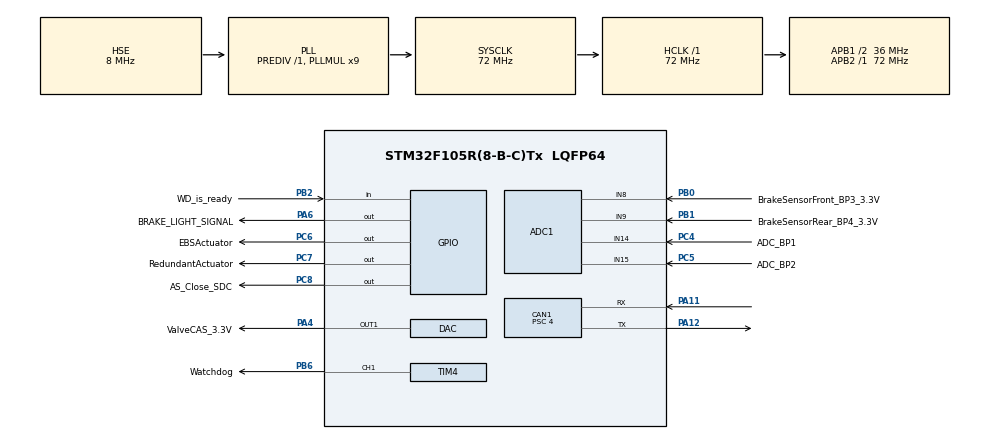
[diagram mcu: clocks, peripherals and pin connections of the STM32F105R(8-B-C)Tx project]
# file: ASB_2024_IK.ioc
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ADC1.Channel-4\#ChannelInjectedConversion=ADC_CHANNEL_8
ADC1.Channel-5\#ChannelInjectedConversion=ADC_CHANNEL_9
ADC1.Channel-6\#ChannelInjectedConversion=ADC_CHANNEL_14
ADC1.Channel-7\#ChannelInjectedConversion=ADC_CHANNEL_15
ADC1.ContinuousConvMode=DISABLE
ADC1.EnableInjectedConversion=ENABLE
ADC1.EnableRegularConversion=DISABLE
ADC1.InjNumberOfConversion=4
ADC1.InjectedOffset-4\#ChannelInjectedConversion=0
ADC1.InjectedOffset-5\#ChannelInjectedConversion=0
ADC1.InjectedOffset-6\#ChannelInjectedConversion=0
ADC1.InjectedOffset-7\#ChannelInjectedConversion=0
ADC1.InjectedRank-4\#ChannelInjectedConversion=1
ADC1.InjectedRank-5\#ChannelInjectedConversion=2
ADC1.InjectedRank-6\#ChannelInjectedConversion=3
ADC1.InjectedRank-7\#ChannelInjectedConversion=4
ADC1.SamplingTime-4\#ChannelInjectedConversion=ADC_SAMPLETIME_55CYCLES_5
ADC1.SamplingTime-5\#ChannelInjectedConversion=ADC_SAMPLETIME_55CYCLES_5
ADC1.SamplingTime-6\#ChannelInjectedConversion=ADC_SAMPLETIME_55CYCLES_5
ADC1.SamplingTime-7\#ChannelInjectedConversion=ADC_SAMPLETIME_55CYCLES_5
ADC1.master=1
CAN1.ABOM=ENABLE
CAN1.AWUM=ENABLE
CAN1.BS1=CAN_BS1_15TQ
CAN1.BS2=CAN_BS2_2TQ
CAN1.CalculateBaudRate=500000
CAN1.CalculateTimeBit=2000
CAN1.CalculateTimeQuantum=111.11111111111111
CAN1.NART=ENABLE
CAN1.Prescaler=4
FREERTOS.Tasks01=readSensors,1,128,StartReadSensorsTsk,Default,NULL,Dynamic,NULL,NULL;supervisor,2,128,supervisorTask,Default,NULL,Dynamic,NULL,NULL;ManageSysTask,0,256,ManageTask,Default,NULL,Dynamic,NULL,NULL
Mcu.Family=STM32F1
Mcu.Name=STM32F105R(8-B-C)Tx
Mcu.Package=LQFP64
NVIC.ADC1_2_IRQn=true\:5\:0\:false\:false\:true\:true\:true\:true\:true
NVIC.CAN1_RX0_IRQn=true\:5\:0\:false\:false\:true\:true\:true\:true\:true
NVIC.CAN1_TX_IRQn=true\:5\:0\:false\:false\:true\:true\:true\:true\:true
NVIC.PriorityGroup=NVIC_PRIORITYGROUP_4
NVIC.TIM7_IRQn=true\:15\:0\:false\:false\:true\:false\:false\:true\:true
NVIC.TimeBase=TIM7_IRQn
NVIC.TimeBaseIP=TIM7
PA11.Mode=CAN_Activate
PA11.Signal=CAN1_RX
PA12.Mode=CAN_Activate
PA12.Signal=CAN1_TX
PA13.Mode=Serial_Wire
PA13.Signal=SYS_JTMS-SWDIO
PA14.Mode=Serial_Wire
PA14.Signal=SYS_JTCK-SWCLK
PA4.GPIO_Label=ValveCAS_3.3V
PA4.Signal=COMP_DAC1_group
PA6.GPIO_Label=BRAKE_LIGHT_SIGNAL
PA6.GPIO_Speed=GPIO_SPEED_FREQ_HIGH
PA6.Signal=GPIO_Output
PB0.GPIO_Label=BrakeSensorFront_BP3_3.3V
PB0.Signal=ADCx_IN8
PB1.GPIO_Label=BrakeSensorRear_BP4_3.3V
PB1.Signal=ADCx_IN9
PB2.GPIO_Label=WD_is_ready
PB2.GPIO_PuPd=GPIO_PULLDOWN
PB2.Signal=GPIO_Input
PB6.GPIO_Label=Watchdog
PB6.Signal=S_TIM4_CH1
PC4.GPIO_Label=ADC_BP1
PC4.Signal=ADCx_IN14
PC5.GPIO_Label=ADC_BP2
PC5.Signal=ADCx_IN15
PC6.GPIO_Label=EBSActuator
PC6.GPIO_PuPd=GPIO_PULLDOWN
PC6.GPIO_Speed=GPIO_SPEED_FREQ_HIGH
PC6.Signal=GPIO_Output
PC7.GPIO_Label=RedundantActuator
PC7.GPIO_PuPd=GPIO_PULLDOWN
PC7.GPIO_Speed=GPIO_SPEED_FREQ_HIGH
PC7.Signal=GPIO_Output
PC8.GPIO_Label=AS_Close_SDC
PC8.GPIO_PuPd=GPIO_PULLDOWN
PC8.GPIO_Speed=GPIO_SPEED_FREQ_HIGH
PC8.Signal=GPIO_Output
PD0-OSC_IN.Mode=HSE-External-Oscillator
PD0-OSC_IN.Signal=RCC_OSC_IN
PD1-OSC_OUT.Mode=HSE-External-Oscillator
PD1-OSC_OUT.Signal=RCC_OSC_OUT
ProjectManager.HeapSize=0x200
ProjectManager.StackSize=0x400
ProjectManager.TargetToolchain=MDK-ARM V5
RCC.ADCPresc=RCC_ADCPCLK2_DIV6
RCC.AHBFreq_Value=72000000
RCC.APB1CLKDivider=RCC_HCLK_DIV2
RCC.APB1Freq_Value=36000000
RCC.APB1TimFreq_Value=72000000
RCC.APB2Freq_Value=72000000
RCC.APB2TimFreq_Value=72000000
RCC.HCLKFreq_Value=72000000
RCC.PLLMUL=RCC_PLL_MUL9
RCC.PLLSourceVirtual=RCC_PLLSOURCE_HSE
RCC.SYSCLKFreq_VALUE=72000000
RCC.SYSCLKSource=RCC_SYSCLKSOURCE_PLLCLK
RCC.USBFreq_Value=48000000
SH.ADCx_IN14.0=ADC1_IN14,IN14
SH.ADCx_IN15.0=ADC1_IN15,IN15
SH.ADCx_IN8.0=ADC1_IN8,IN8
SH.ADCx_IN9.0=ADC1_IN9,IN9
SH.COMP_DAC1_group.0=DAC_OUT1,DAC_OUT1
SH.S_TIM4_CH1.0=TIM4_CH1,PWM Generation1 CH1
TIM4.Channel-PWM\ Generation1\ CH1=TIM_CHANNEL_1
TIM4.Period=1999
TIM4.Prescaler=71
TIM4.Pulse-PWM\ Generation1\ CH1=999
VP_FREERTOS_VS_CMSIS_V1.Mode=CMSIS_V1
VP_SYS_VS_tim7.Mode=TIM7
board=custom

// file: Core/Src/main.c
/* USER CODE BEGIN Header */
/**
  ******************************************************************************
  * @file           : main.c
  * @brief          : Main program body
  ******************************************************************************
  * @attention
  *
  * Copyright (c) 2024 STMicroelectronics.
  * All rights reserved.
  *
  * This software is licensed under terms that can be found in the LICENSE file
  * in the root directory of this software component.
  * If no LICENSE file comes with this software, it is provided AS-IS.
  *
  ******************************************************************************
  */
/* USER CODE END Header */
#include "main.h"
#include "cmsis_os.h"

/* USER CODE BEGIN Includes */
#include <ISO646.h>
#include <stdlib.h>
#include <math.h>
#include <stdbool.h>
/* USER CODE END Includes */

/* USER CODE BEGIN PTD */
typedef enum {
	ASB_Reset,
	Manual_Driving_Mode,
	Init_Check_Request,
	Go_Signal,                          //	unused, yet
	Emergency_External,
	Unexpected_Signal,									//	unused, yet
	EmergencyHandler_Error,              // error that occurs when the Watchdog wasn't stopped
} ASBSignal;
ASBSignal currentASBSignal;

/* USER CODE END PTD */

/* USER CODE BEGIN PD */
#define SDC_CLOSE() HAL_GPIO_WritePin(AS_Close_SDC_GPIO_Port,AS_Close_SDC_Pin,GPIO_PIN_SET);
#define SDC_OPEN() HAL_GPIO_WritePin(AS_Close_SDC_GPIO_Port,AS_Close_SDC_Pin,GPIO_PIN_RESET);
#define BRAKE_LIGHT_ON() HAL_GPIO_WritePin(BRAKE_LIGHT_SIGNAL_GPIO_Port,BRAKE_LIGHT_SIGNAL_Pin,GPIO_PIN_SET);
#define BRAKE_LIGHT_OFF() HAL_GPIO_WritePin(BRAKE_LIGHT_SIGNAL_GPIO_Port,BRAKE_LIGHT_SIGNAL_Pin,GPIO_PIN_RESET);

#define EBS_QM1_ON HAL_GPIO_WritePin(EBSActuator_GPIO_Port, EBSActuator_Pin, GPIO_PIN_SET);
#define Redundant_QM2_ON HAL_GPIO_WritePin(RedundantActuator_GPIO_Port, RedundantActuator_Pin, GPIO_PIN_SET);
#define EBS_QM1_OFF HAL_GPIO_WritePin(EBSActuator_GPIO_Port, EBSActuator_Pin, GPIO_PIN_RESET);
#define Redundant_QM2_OFF HAL_GPIO_WritePin(RedundantActuator_GPIO_Port, RedundantActuator_Pin, GPIO_PIN_RESET);

#define WD_READY_FALL_TIME 100  	// Time during which WD_is_ready is expected to fall, ms
#define WD_READY_RISE_TIME 100	 	// Time during which WD_is_ready is expected to rise, ms

#define STORAGE_PNEUMO_MIN_PRESSURE_BP1		6.5 	// bar
#define STORAGE_PNEUMO_MIN_PRESSURE_BP2 	5.5 	// bar
#define STORAGE_PNEUMO_MAX_PRESSURE_BP1 	8.5 	// bar
#define STORAGE_PNEUMO_MAX_PRESSURE_BP2 	6.5 	// bar
#define HYDRO_MIN_PRESSURE								10   	// bar
/*
The pressure sensor cannot output 0 during operation.
If the sensor outputs a value of 0, then it is defective.
Therefore we must enter some minimum value PRESSURE_MIN. This value is found empirically.
If the value coming from the sensor is less than PRESSURE_MIN, then we assume that the sensor outputs zero.
We also enter the PRESSURE_ZERO value.
If the value coming from the sensor is less than PRESSURE_ZERO, the sensor does not work.
*/
#define PNEUMO_MIN_PRESSURE 		1 	// bar
//#define PNEUMO_ZERO_PRESSURE		3
#define PRESSURE_MAX_DIFFERENCE 410 // Need found

#define TIME_FOR_SENSORS_CHECK 	100

#define DAC_PRESSURE_MIN 0x0
#define DAC_PRESSURE_MAX 0xFFF         //4095
#define CAN_PRESSURE_MIN 0x0
#define CAN_PRESSURE_MAX 0xFFFF				 //65535
#define PNEUMO_BAR_PRESSURE_MIN 	0
#define PNEUMO_BAR_PRESSURE_MAX 	6
#define HYDRO_BAR_PRESSURE_MIN 		0
#define HYDRO_BAR_PRESSURE_MAX 		100

#define PI 3.141592

#define T 0.001; //sampling time (discretization)

#define k 4018.9f //коэффициент для пересчета давления в гидравлике(бар) в тормозной момент(Н*м)

#define DEBUG 0

#if (DEBUG == 0)
#define MEDIAN_ORDER 10
#endif

/*~~~~~~~~~~~~~~~~ADC~~~~~~~~~~~~~~~~*/
volatile uint16_t adc[4] = {0,}; // у нас четыре канала поэтому массив из 4 элементов
bool ADC_flag = 0; //флаг окончания преобразования ADC
/*~~~~~~~~~~~~~~~~ADC~~~~~~~~~~~~~~~~*/

/*~~~~~~~~~~~~~~~~~~~~~~~~~~~~~~~~~~~~~~~~~~~~~~~~~~~~~~HydroPressure~~~~~~~~~~~~~~~~~~~~~~~~~~~~~~~~~~~~~~~~~~~~~~~~~~~~~~*/
/*BrakeSensorFront*/
float VAL_BrakeSensFront, VAL_BrakeSensFront_prev, VAL_BrakeSensFront_f = 0;
int16_t ADC_BrakeSensFront = 0;

/*BrakeSensorRear*/
float VAL_BrakeSensRear, VAL_BrakeSensRear_prev, VAL_BrakeSensRear_f = 0;
int16_t ADC_BrakeSensRear = 0;

/*BrakeSensorsVariables*/
float VAL_HydroPressure = 0; //VAL_HydroPressure = VAL_BrakeSensRear_f + VAL_BrakeSensFront_f;
/*~~~~~~~~~~~~~~~~~~~~~~~~~~~~~~~~~~~~~~~~~~~~~~~~~~~~~~HydroPressure~~~~~~~~~~~~~~~~~~~~~~~~~~~~~~~~~~~~~~~~~~~~~~~~~~~~~~*/

/*~~~~~~~~~~~~~~~~~~~~~~~~~~~~~~~~~~~~~~~~~~~~~~~~~~~~~~PneumoPressure~~~~~~~~~~~~~~~~~~~~~~~~~~~~~~~~~~~~~~~~~~~~~~~~~~~~~~*/
/*Pressure BP1*/
float VAL_Pressure_BP1, VAL_Pressure_BP1_prev, VAL_Pressure_BP1_f = 0;
int16_t ADC_Pressure_BP1 = 0;
/*Pressure BP1*/

/*Pressure BP2*/
float VAL_Pressure_BP2, VAL_Pressure_BP2_prev, VAL_Pressure_BP2_f = 0;
int16_t ADC_Pressure_BP2 = 0;
/*Pressure BP2*/
/*~~~~~~~~~~~~~~~~~~~~~~~~~~~~~~~~~~~~~~~~~~~~~~~~~~~~~~PneumoPressure~~~~~~~~~~~~~~~~~~~~~~~~~~~~~~~~~~~~~~~~~~~~~~~~~~~~~~*/

/*~~~~~~~~~~~~~~~~~~~~~~~~~~~~~~~~~~~~~~~~~~~~~~~~~~~~~~Brake Moment~~~~~~~~~~~~~~~~~~~~~~~~~~~~~~~~~~~~~~~~~~~~~~~~~~~~~~*/
float VAL_MomentBrake  = 0;
/*~~~~~~~~~~~~~~~~~~~~~~~~~~~~~~~~~~~~~~~~~~~~~~~~~~~~~~Brake Moment~~~~~~~~~~~~~~~~~~~~~~~~~~~~~~~~~~~~~~~~~~~~~~~~~~~~~~*/

/*~~~~~~~~~~~~~~~~PID value~~~~~~~~~~~~~~~~*/
float outPIDpne = 0;
float outPIDhyd = 0;
float outPIDmoment = 0;
float setPneumoValue = 0;
float setHydroValue = 0;
float setMomentValue = 0;
/*~~~~~~~~~~~~~~~~PID value~~~~~~~~~~~~~~~~*/

/* USER CODE END PD */

ADC_HandleTypeDef hadc1;

CAN_HandleTypeDef hcan1;

DAC_HandleTypeDef hdac;

TIM_HandleTypeDef htim4;

osThreadId readSensorsHandle;
osThreadId supervisorHandle;
osThreadId ManageSysTaskHandle;
/* USER CODE BEGIN PV */
CAN_TxHeaderTypeDef pTxHeader;
CAN_RxHeaderTypeDef pRxHeader;
uint32_t TxMailbox;
uint8_t i = 0;
uint8_t receive = 0;
uint8_t TX_data[8], RX_data[8];
CAN_FilterTypeDef sFilterConfig;
/* USER CODE END PV */

void SystemClock_Config(void);
static void MX_GPIO_Init(void);
static void MX_ADC1_Init(void);
static void MX_TIM4_Init(void);
static void MX_DAC_Init(void);
static void MX_CAN1_Init(void);
void StartReadSensorsTsk(void const * argument);
void supervisorTask(void const * argument);
void ManageTask(void const * argument);

/* USER CODE BEGIN 0 */
float convert(float value, float From1, float From2, float To1, float To2) {
  return ((value - From1) / (From2 - From1) * (To2 - To1) + To1);
}

float exponential_filter(float alpha, float currentValue, float previousValue){ //функция экспоненциального фильтра
	return alpha * currentValue + (1.0f - alpha) * previousValue;
}

void HAL_ADCEx_InjectedConvCpltCallback(ADC_HandleTypeDef* hadc)
{
    if(hadc->Instance == ADC1) //check if the interrupt comes from ACD1
    {
      adc[0] = HAL_ADCEx_InjectedGetValue(&hadc1, ADC_INJECTED_RANK_1); //BP 3
      adc[1] = HAL_ADCEx_InjectedGetValue(&hadc1, ADC_INJECTED_RANK_2); //BP 4
			adc[2] = HAL_ADCEx_InjectedGetValue(&hadc1, ADC_INJECTED_RANK_3); //BP 1
      adc[3] = HAL_ADCEx_InjectedGetValue(&hadc1, ADC_INJECTED_RANK_4); //BP 2
			ADC_flag = 1;
      HAL_ADCEx_InjectedStart_IT(&hadc1);
    }
}

//void HAL_ADC_ConvCpltCallback(ADC_HandleTypeDef* hadc){ //прерывание по окончанию преобразования АЦП
//    if(hadc->Instance == ADC1)
//    {
//      ADC_flag = 1;
//    }
//}

void SensorsRead(){ //считывание и фильтрация сигнала с датчиков давления
	if(ADC_flag)
  {
    ADC_flag = 0;
		ADC_BrakeSensFront = adc[0];
		ADC_BrakeSensRear = adc[1];
		ADC_Pressure_BP1 = adc[2];
		ADC_Pressure_BP2 = adc[3];
		adc[0] = 0;
    adc[1] = 0;
		adc[2] = 0;
		adc[3] = 0;

		/*-----------ADC -> Bar for Brake Sensors-----------*/
		VAL_BrakeSensFront = (ADC_BrakeSensFront * 100.0f)/4095.0f;
		VAL_BrakeSensRear = (ADC_BrakeSensRear * 100.0f)/4095.0f;

		/*-----------ADC -> Bar for BP1 and BP2-----------*/
//		VAL_Pressure_BP1 = (ADC_Pressure_BP1 * 10.0f)/4095.0f;
//		VAL_Pressure_BP2 = (ADC_Pressure_BP2 * 10.0f)/4095.0f;
		VAL_Pressure_BP1 = convert(ADC_Pressure_BP1, 0, 0xFFF, 0, 10);
		VAL_Pressure_BP2 = convert(ADC_Pressure_BP2, 0, 0xFFF, 0, 10);

		/*-----------Exponential filter for brake sensors-----------*/
		VAL_BrakeSensFront_f = exponential_filter(0.2f, VAL_BrakeSensFront, VAL_BrakeSensFront_prev);
		VAL_BrakeSensRear_f = exponential_filter(0.2f, VAL_BrakeSensRear, VAL_BrakeSensRear_prev);
		VAL_BrakeSensFront_prev = ADC_BrakeSensFront;
		VAL_BrakeSensRear_prev = ADC_BrakeSensRear;

		/*-----------Exponential filter for BP1 and BP2-----------*/
		VAL_Pressure_BP1_f = exponential_filter(0.2f, VAL_Pressure_BP1, VAL_Pressure_BP1_prev);
		VAL_Pressure_BP2_f = exponential_filter(0.2f, VAL_Pressure_BP2, VAL_Pressure_BP2_prev);
		VAL_Pressure_BP1_prev = VAL_Pressure_BP1;
    VAL_Pressure_BP2_prev = VAL_Pressure_BP2;
  }
}

void BRAKE_LIGHT_FUNCTION(){ //функция свечения стопаря в зависимости от давления в гидравлике
	if(VAL_BrakeSensRear_f >= 0.4f) {BRAKE_LIGHT_ON();}
	else if(VAL_BrakeSensRear_f <= 0.1f) {BRAKE_LIGHT_OFF();}
}

float PID_Controller(float setVal, float val, float up_lim, float low_lim, float Kp, float Ki, float Kd) { //PID-регулятор
	float error_PID, error_PID_prev = 0;
	float Prop, Int, Dif = 0;
	float Int_prev = 0;
	float out_PID = 0;
	/*--------вычисление ошибки регулирования--------*/
	error_PID = setVal - val;

	/*--------Пропорциональная составляющая--------*/
	Prop = Kp * error_PID;

	/*--------интегральная составляющая--------*/
	Int = Int_prev + Ki * error_PID * T;

	/*--------Дифференциальная составляющая--------*/
	Dif = Kd * (error_PID - error_PID_prev) / T;

	/*--------Обновление предыдущих значений--------*/
	error_PID_prev = error_PID;
	Int_prev = Int;

	/*--------Выход PID регулятора--------*/
	out_PID = Prop + Int + Dif;
	out_PID = fminf(fmaxf(out_PID, low_lim), up_lim); //ограничиваем выход PID-регулятора
  return out_PID;
}

void DAC_voltageControl(float PID_output){
	uint16_t setVoltage = 0;
	setVoltage = (PID_output * 4095.0f)/8.0f;
	HAL_DAC_SetValue(&hdac, DAC_CHANNEL_1, DAC_ALIGN_12B_R, setVoltage);
}

void MANUALDrivingModeHandler(void) {
	HAL_TIM_PWM_Start(&htim4, Watchdog_Pin);
	if(HAL_GPIO_ReadPin(WD_is_ready_GPIO_Port, WD_is_ready_Pin) == 1){
		SDC_CLOSE();                             //Enable TS activation through AS_close_SDC
	  BRAKE_LIGHT_FUNCTION();
	}
}
/* USER CODE END 0 */

int main(void)
{

  /* MCU Configuration--------------------------------------------------------*/

  /* Reset of all peripherals, Initializes the Flash interface and the Systick. */
  HAL_Init();

  /* Configure the system clock */
  SystemClock_Config();

  /* Initialize all configured peripherals */
  MX_GPIO_Init();
  MX_ADC1_Init();
  MX_TIM4_Init();
  MX_DAC_Init();
  MX_CAN1_Init();
  /* USER CODE BEGIN 2 */
	SDC_CLOSE();
  HAL_TIM_PWM_Start(&htim4, Watchdog_Pin); //тактирование Watchdog
  HAL_ADCEx_Calibration_Start(&hadc1);     //калибруем АЦП
	HAL_ADCEx_InjectedStart_IT(&hadc1);      //Запуск инжектированных каналов АЦП с прерыанием
	//HAL_ADC_Start_DMA(&hadc1, (uint32_t*)&adc, 4); // стартуем АЦП
  /* USER CODE END 2 */

  /* Create the thread(s) */
  /* definition and creation of readSensors */
  osThreadDef(readSensors, StartReadSensorsTsk, osPriorityAboveNormal, 0, 128);
  readSensorsHandle = osThreadCreate(osThread(readSensors), NULL);

  /* definition and creation of supervisor */
  osThreadDef(supervisor, supervisorTask, osPriorityHigh, 0, 128);
  supervisorHandle = osThreadCreate(osThread(supervisor), NULL);

  /* definition and creation of ManageSysTask */
  osThreadDef(ManageSysTask, ManageTask, osPriorityNormal, 0, 256);
  ManageSysTaskHandle = osThreadCreate(osThread(ManageSysTask), NULL);

  /* Start scheduler */
  osKernelStart();

  /* We should never get here as control is now taken by the scheduler */

  /* Infinite loop */
  while (1)
  {

  }
}

void SystemClock_Config(void)
{
  RCC_OscInitTypeDef RCC_OscInitStruct = {0};
  RCC_ClkInitTypeDef RCC_ClkInitStruct = {0};
  RCC_PeriphCLKInitTypeDef PeriphClkInit = {0};

  /** Initializes the RCC Oscillators according to the specified parameters
  * in the RCC_OscInitTypeDef structure.
  */
  RCC_OscInitStruct.OscillatorType = RCC_OSCILLATORTYPE_HSE;
  RCC_OscInitStruct.HSEState = RCC_HSE_ON;
  RCC_OscInitStruct.HSEPredivValue = RCC_HSE_PREDIV_DIV1;
  RCC_OscInitStruct.HSIState = RCC_HSI_ON;
  RCC_OscInitStruct.Prediv1Source = RCC_PREDIV1_SOURCE_HSE;
  RCC_OscInitStruct.PLL.PLLState = RCC_PLL_ON;
  RCC_OscInitStruct.PLL.PLLSource = RCC_PLLSOURCE_HSE;
  RCC_OscInitStruct.PLL.PLLMUL = RCC_PLL_MUL9;
  RCC_OscInitStruct.PLL2.PLL2State = RCC_PLL_NONE;
  if (HAL_RCC_OscConfig(&RCC_OscInitStruct) != HAL_OK)
  {
    Error_Handler();
  }

  /** Initializes the CPU, AHB and APB buses clocks
  */
  RCC_ClkInitStruct.ClockType = RCC_CLOCKTYPE_HCLK|RCC_CLOCKTYPE_SYSCLK
                              |RCC_CLOCKTYPE_PCLK1|RCC_CLOCKTYPE_PCLK2;
  RCC_ClkInitStruct.SYSCLKSource = RCC_SYSCLKSOURCE_PLLCLK;
  RCC_ClkInitStruct.AHBCLKDivider = RCC_SYSCLK_DIV1;
  RCC_ClkInitStruct.APB1CLKDivider = RCC_HCLK_DIV2;
  RCC_ClkInitStruct.APB2CLKDivider = RCC_HCLK_DIV1;

  if (HAL_RCC_ClockConfig(&RCC_ClkInitStruct, FLASH_LATENCY_2) != HAL_OK)
  {
    Error_Handler();
  }
  PeriphClkInit.PeriphClockSelection = RCC_PERIPHCLK_ADC;
  PeriphClkInit.AdcClockSelection = RCC_ADCPCLK2_DIV6;
  if (HAL_RCCEx_PeriphCLKConfig(&PeriphClkInit) != HAL_OK)
  {
    Error_Handler();
  }

  /** Configure the Systick interrupt time
  */
  __HAL_RCC_PLLI2S_ENABLE();
}

static void MX_ADC1_Init(void)
{

  ADC_InjectionConfTypeDef sConfigInjected = {0};

  /** Common config
  */
  hadc1.Instance = ADC1;
  hadc1.Init.ScanConvMode = ADC_SCAN_ENABLE;
  hadc1.Init.ContinuousConvMode = DISABLE;
  hadc1.Init.DiscontinuousConvMode = DISABLE;
  hadc1.Init.ExternalTrigConv = ADC_SOFTWARE_START;
  hadc1.Init.DataAlign = ADC_DATAALIGN_RIGHT;
  hadc1.Init.NbrOfConversion = 1;
  if (HAL_ADC_Init(&hadc1) != HAL_OK)
  {
    Error_Handler();
  }

  /** Configure Injected Channel
  */
  sConfigInjected.InjectedChannel = ADC_CHANNEL_8;
  sConfigInjected.InjectedRank = ADC_INJECTED_RANK_1;
  sConfigInjected.InjectedNbrOfConversion = 4;
  sConfigInjected.InjectedSamplingTime = ADC_SAMPLETIME_55CYCLES_5;
  sConfigInjected.ExternalTrigInjecConv = ADC_INJECTED_SOFTWARE_START;
  sConfigInjected.AutoInjectedConv = DISABLE;
  sConfigInjected.InjectedDiscontinuousConvMode = DISABLE;
  sConfigInjected.InjectedOffset = 0;
  if (HAL_ADCEx_InjectedConfigChannel(&hadc1, &sConfigInjected) != HAL_OK)
  {
    Error_Handler();
  }

  /** Configure Injected Channel
  */
  sConfigInjected.InjectedChannel = ADC_CHANNEL_9;
  sConfigInjected.InjectedRank = ADC_INJECTED_RANK_2;
  if (HAL_ADCEx_InjectedConfigChannel(&hadc1, &sConfigInjected) != HAL_OK)
  {
    Error_Handler();
  }

  /** Configure Injected Channel
  */
  sConfigInjected.InjectedChannel = ADC_CHANNEL_14;
  sConfigInjected.InjectedRank = ADC_INJECTED_RANK_3;
  if (HAL_ADCEx_InjectedConfigChannel(&hadc1, &sConfigInjected) != HAL_OK)
  {
    Error_Handler();
  }

  /** Configure Injected Channel
  */
  sConfigInjected.InjectedChannel = ADC_CHANNEL_15;
  sConfigInjected.InjectedRank = ADC_INJECTED_RANK_4;
  if (HAL_ADCEx_InjectedConfigChannel(&hadc1, &sConfigInjected) != HAL_OK)
  {
    Error_Handler();
  }

}

static void MX_CAN1_Init(void)
{

  hcan1.Instance = CAN1;
  hcan1.Init.Prescaler = 4;
  hcan1.Init.Mode = CAN_MODE_NORMAL;
  hcan1.Init.SyncJumpWidth = CAN_SJW_1TQ;
  hcan1.Init.TimeSeg1 = CAN_BS1_15TQ;
  hcan1.Init.TimeSeg2 = CAN_BS2_2TQ;
  hcan1.Init.TimeTriggeredMode = DISABLE;
  hcan1.Init.AutoBusOff = ENABLE;
  hcan1.Init.AutoWakeUp = ENABLE;
  hcan1.Init.AutoRetransmission = ENABLE;
  hcan1.Init.ReceiveFifoLocked = DISABLE;
  hcan1.Init.TransmitFifoPriority = DISABLE;
  if (HAL_CAN_Init(&hcan1) != HAL_OK)
  {
    Error_Handler();
  }
  /* USER CODE BEGIN CAN1_Init 2 */
pTxHeader.DLC = 8;                          //Колличество передаваемых бит
pTxHeader.IDE = CAN_ID_STD;
pTxHeader.RTR = CAN_RTR_DATA;
pTxHeader.StdId = 0x300;
pTxHeader.TransmitGlobalTime = DISABLE;

sFilterConfig.FilterBank = 0;
sFilterConfig.FilterMode = CAN_FILTERMODE_IDLIST;   //Режим работы: IDMASK/IDLIST
sFilterConfig.FilterFIFOAssignment = CAN_RX_FIFO0;
sFilterConfig.SlaveStartFilterBank = 0;
sFilterConfig.FilterIdHigh = 0x333<<5;
sFilterConfig.FilterIdLow = 0x333<<5;
sFilterConfig.FilterMaskIdHigh = 0x333<<5;
sFilterConfig.FilterMaskIdLow = 0x333<<5;
sFilterConfig.FilterScale = CAN_FILTERSCALE_16BIT;
sFilterConfig.FilterActivation = ENABLE;

  if (HAL_CAN_ConfigFilter(&hcan1, &sFilterConfig)!= HAL_OK)
    {
      // Filter configuration Error
      Error_Handler();
    }

  if(HAL_CAN_Start(&hcan1)!= HAL_OK)
    {
      //Start Error
      Error_Handler();
    }
  /* Activate CAN RX notification */
  if (HAL_CAN_ActivateNotification(&hcan1, CAN_IT_RX_FIFO0_MSG_PENDING | CAN_IT_TX_MAILBOX_EMPTY) != HAL_OK)
   {
     /* Notification Error */
     Error_Handler();
   }
  /* USER CODE END CAN1_Init 2 */

}

static void MX_DAC_Init(void)
{

  DAC_ChannelConfTypeDef sConfig = {0};

  /** DAC Initialization
  */
  hdac.Instance = DAC;
  if (HAL_DAC_Init(&hdac) != HAL_OK)
  {
    Error_Handler();
  }

  /** DAC channel OUT1 config
  */
  sConfig.DAC_Trigger = DAC_TRIGGER_NONE;
  sConfig.DAC_OutputBuffer = DAC_OUTPUTBUFFER_ENABLE;
  if (HAL_DAC_ConfigChannel(&hdac, &sConfig, DAC_CHANNEL_1) != HAL_OK)
  {
    Error_Handler();
  }

}

static void MX_TIM4_Init(void)
{

  TIM_MasterConfigTypeDef sMasterConfig = {0};
  TIM_OC_InitTypeDef sConfigOC = {0};

  htim4.Instance = TIM4;
  htim4.Init.Prescaler = 71;
  htim4.Init.CounterMode = TIM_COUNTERMODE_UP;
  htim4.Init.Period = 1999;
  htim4.Init.ClockDivision = TIM_CLOCKDIVISION_DIV1;
  htim4.Init.AutoReloadPreload = TIM_AUTORELOAD_PRELOAD_DISABLE;
  if (HAL_TIM_PWM_Init(&htim4) != HAL_OK)
  {
    Error_Handler();
  }
  sMasterConfig.MasterOutputTrigger = TIM_TRGO_RESET;
  sMasterConfig.MasterSlaveMode = TIM_MASTERSLAVEMODE_DISABLE;
  if (HAL_TIMEx_MasterConfigSynchronization(&htim4, &sMasterConfig) != HAL_OK)
  {
    Error_Handler();
  }
  sConfigOC.OCMode = TIM_OCMODE_PWM1;
  sConfigOC.Pulse = 999;
  sConfigOC.OCPolarity = TIM_OCPOLARITY_HIGH;
  sConfigOC.OCFastMode = TIM_OCFAST_DISABLE;
  if (HAL_TIM_PWM_ConfigChannel(&htim4, &sConfigOC, TIM_CHANNEL_1) != HAL_OK)
  {
    Error_Handler();
  }
  HAL_TIM_MspPostInit(&htim4);

}

static void MX_GPIO_Init(void)
{
  GPIO_InitTypeDef GPIO_InitStruct = {0};

  /* GPIO Ports Clock Enable */
  __HAL_RCC_GPIOD_CLK_ENABLE();
  __HAL_RCC_GPIOA_CLK_ENABLE();
  __HAL_RCC_GPIOC_CLK_ENABLE();
  __HAL_RCC_GPIOB_CLK_ENABLE();

  /*Configure GPIO pin Output Level */
  HAL_GPIO_WritePin(BRAKE_LIGHT_SIGNAL_GPIO_Port, BRAKE_LIGHT_SIGNAL_Pin, GPIO_PIN_RESET);

  /*Configure GPIO pin Output Level */
  HAL_GPIO_WritePin(GPIOC, EBSActuator_Pin|RedundantActuator_Pin|AS_Close_SDC_Pin, GPIO_PIN_RESET);

  /*Configure GPIO pin : BRAKE_LIGHT_SIGNAL_Pin */
  GPIO_InitStruct.Pin = BRAKE_LIGHT_SIGNAL_Pin;
  GPIO_InitStruct.Mode = GPIO_MODE_OUTPUT_PP;
  GPIO_InitStruct.Pull = GPIO_NOPULL;
  GPIO_InitStruct.Speed = GPIO_SPEED_FREQ_HIGH;
  HAL_GPIO_Init(BRAKE_LIGHT_SIGNAL_GPIO_Port, &GPIO_InitStruct);

  /*Configure GPIO pin : WD_is_ready_Pin */
  GPIO_InitStruct.Pin = WD_is_ready_Pin;
  GPIO_InitStruct.Mode = GPIO_MODE_INPUT;
  GPIO_InitStruct.Pull = GPIO_PULLDOWN;
  HAL_GPIO_Init(WD_is_ready_GPIO_Port, &GPIO_InitStruct);

  /*Configure GPIO pins : EBSActuator_Pin RedundantActuator_Pin AS_Close_SDC_Pin */
  GPIO_InitStruct.Pin = EBSActuator_Pin|RedundantActuator_Pin|AS_Close_SDC_Pin;
  GPIO_InitStruct.Mode = GPIO_MODE_OUTPUT_PP;
  GPIO_InitStruct.Pull = GPIO_PULLDOWN;
  GPIO_InitStruct.Speed = GPIO_SPEED_FREQ_HIGH;
  HAL_GPIO_Init(GPIOC, &GPIO_InitStruct);

}

/* USER CODE BEGIN 4 */
void HAL_CAN_RxFifo0MsgPendingCallback(CAN_HandleTypeDef *hcan){
	HAL_CAN_GetRxMessage(hcan, CAN_RX_FIFO0, &pRxHeader, RX_data);
	if(pRxHeader.StdId == 0x300){
		*(uint32_t*)&setMomentValue = *((uint32_t*)&RX_data[0]);
	}
	else if(pRxHeader.StdId == 0x301){
		if(RX_data[0] == 0x00){
         currentASBSignal = ASB_Reset;
		}
		if(RX_data[0] == 1){
				 currentASBSignal = Manual_Driving_Mode;
		}
		if(RX_data[0] == 2){
				 currentASBSignal = Init_Check_Request;
		}
		if (RX_data[0] == 3) {
				 currentASBSignal = Emergency_External;
				// emergencyHandler();
		}
	}
}
void emergencyHandler(void) {
				ASBSignal someASBSignal;

	// Suspend tasks
	     //vTaskSuspend(initCheckHandle);
	    //vTaskSuspend(monitoringHandle);

	// Disable EBS actuator (Turn OFF valve QM1)
	HAL_GPIO_WritePin(EBSActuator_GPIO_Port, EBSActuator_Pin, GPIO_PIN_RESET);
	// Disable Redundant actuator (Turn OFF valve QM2)
	HAL_GPIO_WritePin(RedundantActuator_GPIO_Port, RedundantActuator_Pin, GPIO_PIN_RESET);

	// Break pressure filled to Proportional valve
	HAL_DAC_SetValue(&hdac, DAC_CHANNEL_1, DAC_ALIGN_12B_R, 0);

	// AS opened SDC
	HAL_GPIO_WritePin(AS_Close_SDC_GPIO_Port, AS_Close_SDC_Pin, GPIO_PIN_RESET);

	// Stop toggling watchdog => SDC will be opened
	if (HAL_TIM_PWM_Stop(&htim4, Watchdog_Pin) != HAL_OK) {
		//ErrorFlag = WATCHDOG_NOT_STOPPED;
		someASBSignal = EmergencyHandler_Error;
		//xQueueSend(ASBSignalQueueHandle, (const void *) &someASBSignal, 0);
	}

	//someASBSignal = EmergencyHandler_Error_Managed;
	//xQueueSend(ASBSignalQueueHandle, (const void *) &someASBSignal, 0);
}
void HAL_CAN_TxMailbox0CompleteCallback(CAN_HandleTypeDef*hcan) {
}
/* USER CODE END 4 */

void StartReadSensorsTsk(void const * argument)
{
  /* USER CODE BEGIN 5 */
  /* Infinite loop */
  for(;;)
  {
		SensorsRead();
		VAL_BrakeSensFront_f = VAL_BrakeSensRear_f * 1.191f;//т.к. передний не работает
		VAL_HydroPressure = VAL_BrakeSensRear_f + VAL_BrakeSensFront_f;
		BRAKE_LIGHT_FUNCTION();
    osDelay(1);
  }
  /* USER CODE END 5 */
}

void supervisorTask(void const * argument)
{
  for(;;)
  {
    osDelay(1);
  }
}

void ManageTask(void const * argument)
{
  /* USER CODE BEGIN ManageTask */
  /* Infinite loop */
  for(;;)
  {
//		setHydroValue = PID_Controller(setMomentValue, VAL_MomentBrake, 6000.0f, -6000.0f, 1.0f, 0, 0);
//		setPneumoValue = PID_Controller(setHydroValue, VAL_HydroPressure, 22.0f, -22.0f, 1.0f, 0, 0);
		outPIDpne = PID_Controller(setPneumoValue, VAL_Pressure_BP2_f, 8.0f, -8.0f, 1.0f, 0, 0);
//		HAL_DAC_SetValue(outPIDpne);
    osDelay(1);
  }
  /* USER CODE END ManageTask */
}

void HAL_TIM_PeriodElapsedCallback(TIM_HandleTypeDef *htim)
{
  if (htim->Instance == TIM7) {
    HAL_IncTick();
  }
}

void Error_Handler(void)
{
  __disable_irq();
  while (1)
  {
  }
}
